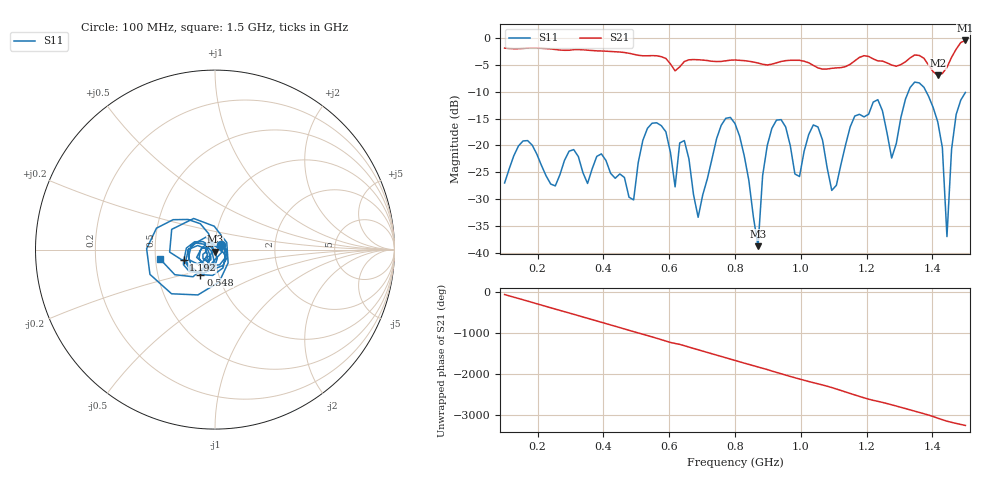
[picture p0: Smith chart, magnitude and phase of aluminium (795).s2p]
! NanoVNA-App
! Date: 2025-09-25 15:01:28
! Start: 100MHz Stop: 1,5GHz Points: 101
! S-Parameter data: F S11 S21 S12 S22
# Hz S RI R 50
!  Frequency  S11_Real  S11_Imag  S21_Real  S21_Imag  S12_Real  S12_Imag  S22_Real  S22_Imag
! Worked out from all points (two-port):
!   101 points, 100 MHz to 1.5 GHz, reference 50 ohm
!   highest |S21| = -0.50 dB at 1.5 GHz (marker M1); lowest = -7.0 dB at 1.416 GHz (marker M2)
!   |S21| within 3 dB of the highest: start of sweep to 574.8 MHz; 1.459 GHz to end of sweep (the widest 2 of 4)
!   lowest |S11| = -38.7 dB at 870 MHz (marker M3), VSWR 1.02, Z = 50.1 - j1.16 ohm
!   |S11| at or under -10 dB: start of sweep to 1.327 GHz; 1.381 GHz to end of sweep
!   S12 and S22 are empty: the file has one direction only
!   S11 on the Smith chart (normalised r, x): 100 MHz: 1.07, +0.06; 548 MHz: 0.82, -0.23; 1.192 GHz: 0.70, -0.08; 1.5 GHz: 0.53, -0.06
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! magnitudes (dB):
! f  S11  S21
! 100 MHz  -27.0  -1.9
! 156 MHz  -19.2  -2.0
! 338 MHz  -25.0  -2.2
! 492 MHz  -30.1  -3.1
! 548 MHz  -15.9  -3.3
! 576 MHz  -16.3  -3.5
! 618 MHz  -27.7  -6.1
! 646 MHz  -19.1  -4.4
! 688 MHz  -33.3  -4.1
! 800 MHz  -15.9  -4.1
! 870 MHz  -38.7  -4.7
! 912 MHz  -16.8  -4.9
! 996 MHz  -25.8  -4.2
! 1.038 GHz  -16.2  -5.1
! 1.094 GHz  -28.3  -5.7
! 1.192 GHz  -14.7  -3.3
! 1.276 GHz  -22.3  -5.1
! 1.346 GHz  -8.2  -3.2
! 1.416 GHz  -15.6  -7.0
! 1.444 GHz  -36.9  -5.5
! 1.458 GHz  -20.7  -3.6
! 1.5 GHz  -10.2  -0.5
